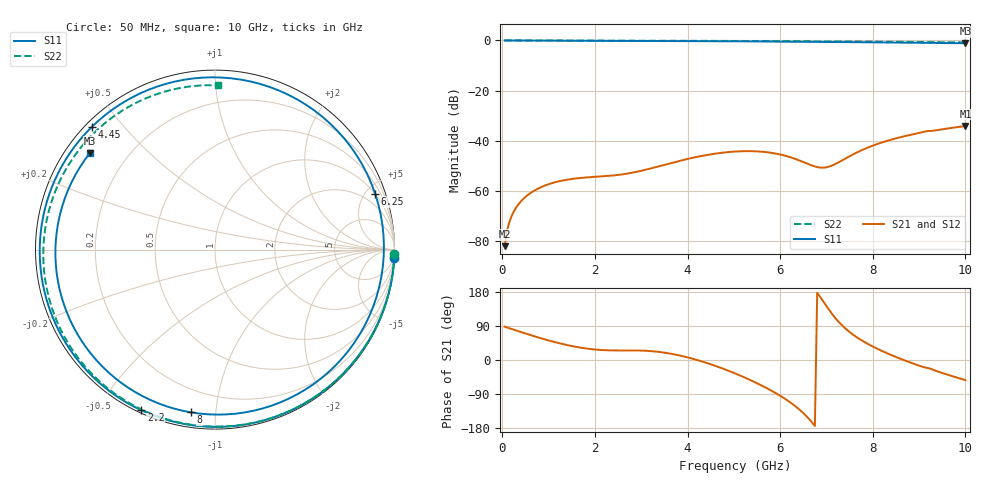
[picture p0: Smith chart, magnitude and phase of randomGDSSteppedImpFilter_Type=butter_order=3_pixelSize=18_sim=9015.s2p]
! freq	dB(S11)	phase(S11)	dB(S12)	phase(S12)
!  dB(S21)	phase(S21)	dB(S22)	phase(S22)
!S-par simulation data
#  GHz  S  DB  R 50
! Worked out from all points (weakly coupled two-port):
!   200 points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, 50 MHz to 10 GHz, reference 50 ohm
!   highest |S21| = -34.19 dB at 10 GHz (marker M1); lowest = -82.2 dB at 50 MHz (marker M2)
!   lowest |S11| = -1.1 dB at 10 GHz (marker M3), VSWR 15.71, Z = 3.55 + j17 ohm
!   |S11| at or under -10 dB: nowhere
!   |S22| runs from -0.8 to 0.0 dB; largest |S21 - S12| = 0
!   S11 on the Smith chart (normalised r, x): 50 MHz: 0, -41; 2.2 GHz: 0.01, -0.64; 4.45 GHz: 0.02, +0.41; 6.25 GHz: 0.99, +5.74; 8 GHz: 0.08, -0.86; 10 GHz: 0.07, +0.34
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0.05  -0.00 -2.8  -82.18 87.9  -82.18 87.9  -0.00 -1.3
0.15  -0.01 -8.4  -72.67 83.9  -72.67 83.9  -0.00 -3.9
0.25  -0.02 -13.9  -68.29 79.8  -68.29 79.8  -0.01 -6.5
0.55  -0.04 -30.3  -61.75 68.0  -61.75 68.0  -0.02 -14.3
1.15  -0.08 -62.3  -56.60 46.8  -56.60 46.8  -0.04 -29.7
1.75  -0.11 -92.8  -54.83 31.4  -54.83 31.4  -0.06 -44.9
2.2  -0.13 -114.6  -54.24 26.0  -54.24 26.0  -0.07 -56.0
2.85  -0.16 -145.3  -52.68 25.2  -52.68 25.2  -0.09 -71.9
3.4  -0.19 -171.4  -50.18 21.1  -50.18 21.1  -0.11 -85.0
3.95  -0.23 161.6  -47.55 8.5  -47.55 8.5  -0.13 -98.0
4.45  -0.28 135.2  -45.65 -9.2  -45.65 -9.2  -0.16 -109.7
5.05  -0.34 100.3  -44.35 -36.5  -44.35 -36.5  -0.19 -123.7
5.65  -0.41 61.3  -44.52 -70.4  -44.52 -70.4  -0.23 -137.9
6.25  -0.49 19.2  -46.83 -114.6  -46.83 -114.6  -0.28 -152.5
6.7  -0.55 -12.9  -50.04 -166.6  -50.04 -166.6  -0.32 -163.8
7  -0.60 -33.8  -50.67 142.1  -50.67 142.1  -0.35 -171.6
7.35  -0.65 -57.4  -47.77 89.8  -47.77 89.8  -0.39 179.0
8  -0.76 -98.4  -42.02 35.5  -42.02 35.5  -0.47 160.3
8.35  -0.82 -119.3  -39.88 15.6  -39.88 15.6  -0.52 149.4
9.2  -0.99 -168.7  -36.17 -21.4  -36.17 -21.4  -0.64 120.2
9.6  -1.05 167.4  -35.22 -38.2  -35.22 -38.2  -0.70 105.0
10  -1.11 142.3  -34.19 -53.1  -34.19 -53.1  -0.77 88.8
